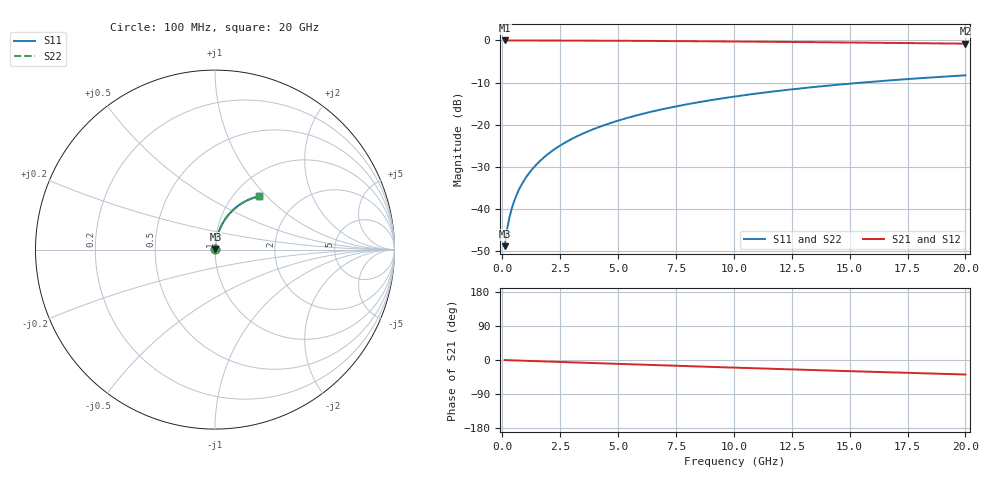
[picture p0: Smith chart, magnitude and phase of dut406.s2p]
! Touchstone file exported from HFSS 2026.1.0
!  File:  C:/ffzhzh/LocalFiles/Ansys_Project_Files/temp_train_BSMRDL_406_1783012458_46388.aedt
!  Generated:  01:15:49 AM Jul  3, 2026
!  Design:  BSMRDL
!  Project:  temp_train_BSMRDL_406_1783012458_46388
! Variables:
!  h_bsmrdl = 3.14um
!  h_ox = 20um
!  h_rdl = 5um
!  h_sub = 80um
!  h_tmrdl = 5um
!  h_tsv = 80um
!  h_via = 3um
!  l_bsmrdl = 515.72um
!  l_sub = 915.72um
!  l_tmrdl = 200um
!  m_sub = 200um
!  pitch = 56.89um
!  r_tsv = 6um
!  s_tmrdl = 10um
!  w_bsmrdl = 23.62um
!  w_sub = 500um
!  w_tmrdl = 12um
!  x_tsv_center1 = 206um
!  x_tsv_center2 = 745.34um
!  x_tsv_center3 = 957.34um
!  x_tsv_center4 = 1496.68um
!  x_tsv_center5 = 1708.68um
!  x_tsv_center6 = 2248.02um
# GHz S MA R 50.000000
! Terminal data exported
! Port[1] = BSM_RDL1_1_T1
! Port[2] = BSM_RDL1_1_T2
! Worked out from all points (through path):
!   200 points, 100 MHz to 20 GHz, reference 50 ohm
!   highest |S21| = -0.02 dB at 100 MHz (marker M1); lowest = -0.8 dB at 20 GHz (marker M2)
!   group delay of S21, straight-line fit = 5.32 ps
!   lowest |S11| = -48.8 dB at 100 MHz (marker M3), VSWR 1.01, Z = 50.3 + j0.246 ohm
!   |S11| at or under -10 dB: start of sweep to 15.55 GHz
!   |S22| runs from -48.8 to -8.3 dB; largest |S21 - S12| = 2.1e-15
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0.1  0.00365 42.2  0.9973 -0.2  0.9973 -0.2  0.00365 42.2
! Gamma 0 0 0 0
! Port Impedance 50 0 50 0
0.2  0.005618 59.6  0.9972 -0.4  0.9972 -0.4  0.005618 59.6
0.3  0.007784 67.2  0.997 -0.6  0.997 -0.6  0.007784 67.2
0.4  0.009981 71.3  0.9969 -0.8  0.9969 -0.8  0.009981 71.3
0.5  0.01218 74.0  0.9968 -1.1  0.9968 -1.1  0.01218 74.0
0.6  0.01438 75.8  0.9967 -1.3  0.9967 -1.3  0.01438 75.8
0.8  0.01881 78.1  0.9965 -1.7  0.9965 -1.7  0.01881 78.1
1.1  0.02548 80.0  0.9963 -2.3  0.9963 -2.3  0.02548 80.0
1.5  0.03442 81.0  0.9959 -3.1  0.9959 -3.1  0.03442 81.0
1.8  0.04114 81.2  0.9956 -3.7  0.9956 -3.7  0.04114 81.2
2.1  0.04786 81.2  0.9952 -4.3  0.9952 -4.3  0.04786 81.2
2.7  0.06129 80.8  0.9943 -5.6  0.9943 -5.6  0.06129 80.8
3.5  0.07908 79.8  0.9928 -7.2  0.9928 -7.2  0.07908 79.8
4.2  0.09452 78.7  0.9912 -8.6  0.9912 -8.6  0.09452 78.7
5  0.112 77.4  0.989 -10.2  0.989 -10.2  0.112 77.4
5.9  0.1314 75.7  0.9863 -12.1  0.9863 -12.1  0.1314 75.7
6.8  0.1504 74.1  0.9832 -13.8  0.9832 -13.8  0.1504 74.1
8.3  0.1815 71.3  0.9773 -16.8  0.9773 -16.8  0.1815 71.3
10.1  0.2174 67.9  0.9693 -20.3  0.9693 -20.3  0.2174 67.9
13.4  0.2791 61.9  0.9524 -26.5  0.9524 -26.5  0.2791 61.9
16.7  0.3351 56.0  0.9336 -32.5  0.9336 -32.5  0.3351 56.0
20  0.3852 50.4  0.9138 -38.3  0.9138 -38.3  0.3852 50.4
